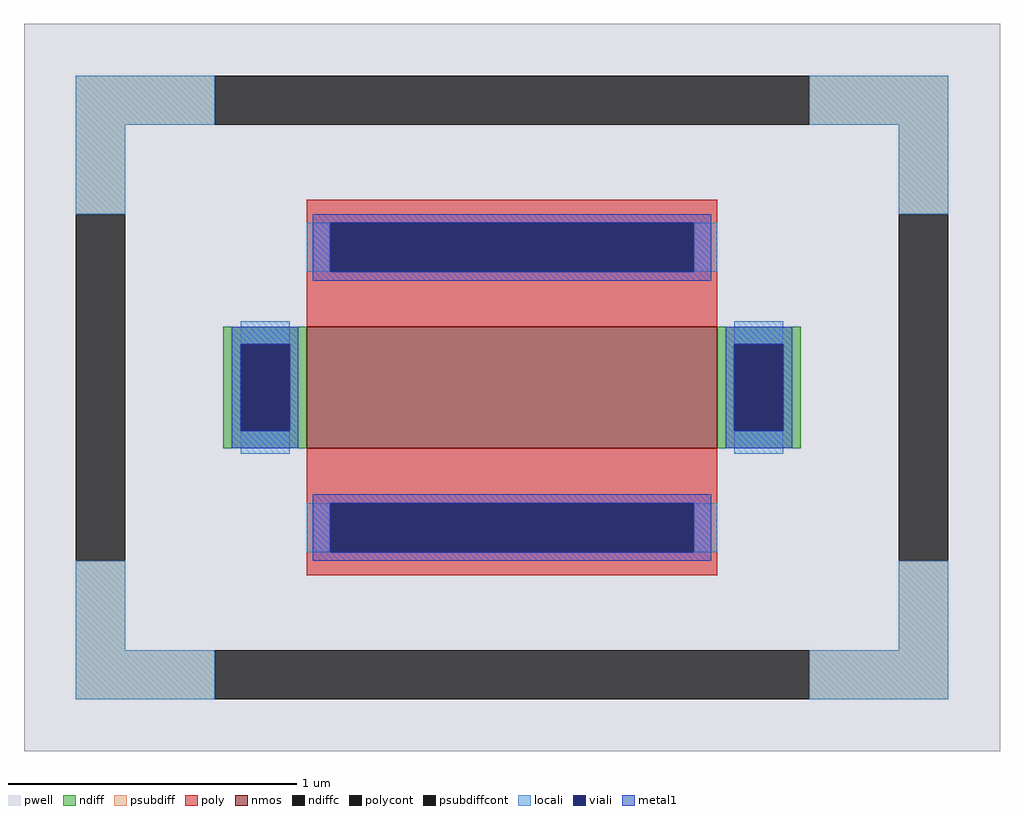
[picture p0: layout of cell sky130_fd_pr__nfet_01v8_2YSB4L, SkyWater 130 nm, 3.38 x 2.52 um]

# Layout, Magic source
magic
tech sky130A
<< pwell >>
rect -169 -126 169 126
<< nmos >>
rect -71 -21 71 21
<< ndiff >>
rect -100 15 -71 21
rect -100 -15 -94 15
rect -77 -15 -71 15
rect -100 -21 -71 -15
rect 71 15 100 21
rect 71 -15 77 15
rect 94 -15 100 15
rect 71 -21 100 -15
<< ndiffc >>
rect -94 -15 -77 15
rect 77 -15 94 15
<< psubdiff >>
rect -151 91 -103 108
rect 103 91 151 108
rect -151 60 -134 91
rect 134 60 151 91
rect -151 -91 -134 -60
rect 134 -91 151 -60
rect -151 -108 -103 -91
rect 103 -108 151 -91
<< psubdiffcont >>
rect -103 91 103 108
rect -151 -60 -134 60
rect 134 -60 151 60
rect -103 -108 103 -91
<< poly >>
rect -71 57 71 65
rect -71 40 -63 57
rect 63 40 71 57
rect -71 21 71 40
rect -71 -40 71 -21
rect -71 -57 -63 -40
rect 63 -57 71 -40
rect -71 -65 71 -57
<< polycont >>
rect -63 40 63 57
rect -63 -57 63 -40
<< locali >>
rect -151 91 -103 108
rect 103 91 151 108
rect -151 60 -134 91
rect 134 60 151 91
rect -71 40 -63 57
rect 63 40 71 57
rect -94 15 -77 23
rect -94 -23 -77 -15
rect 77 15 94 23
rect 77 -23 94 -15
rect -71 -57 -63 -40
rect 63 -57 71 -40
rect -151 -91 -134 -60
rect 134 -91 151 -60
rect -151 -108 -103 -91
rect 103 -108 151 -91
<< viali >>
rect -63 40 63 57
rect -94 -15 -77 15
rect 77 -15 94 15
rect -63 -57 63 -40
<< metal1 >>
rect -69 57 69 60
rect -69 40 -63 57
rect 63 40 69 57
rect -69 37 69 40
rect -97 15 -74 21
rect -97 -15 -94 15
rect -77 -15 -74 15
rect -97 -21 -74 -15
rect 74 15 97 21
rect 74 -15 77 15
rect 94 -15 97 15
rect 74 -21 97 -15
rect -69 -40 69 -37
rect -69 -57 -63 -40
rect 63 -57 69 -40
rect -69 -60 69 -57
<< properties >>
string FIXED_BBOX -142 -99 142 99
string gencell sky130_fd_pr__nfet_01v8
string library sky130
string parameters w 0.42 l 1.42 m 1 nf 1 diffcov 100 polycov 100 guard 1 glc 1 grc 1 gtc 1 gbc 1 tbcov 100 rlcov 100 topc 1 botc 1 poverlap 0 doverlap 1 lmin 0.15 wmin 0.42 compatible {sky130_fd_pr__nfet_01v8 sky130_fd_pr__nfet_01v8_lvt  sky130_fd_bs_flash__special_sonosfet_star  sky130_fd_pr__nfet_g5v0d10v5 sky130_fd_pr__nfet_05v0_nvt  sky130_fd_pr__nfet_03v3_nvt} full_metal 1 viasrc 100 viadrn 100 viagate 100 viagb 0 viagr 0 viagl 0 viagt 0
<< end >>
